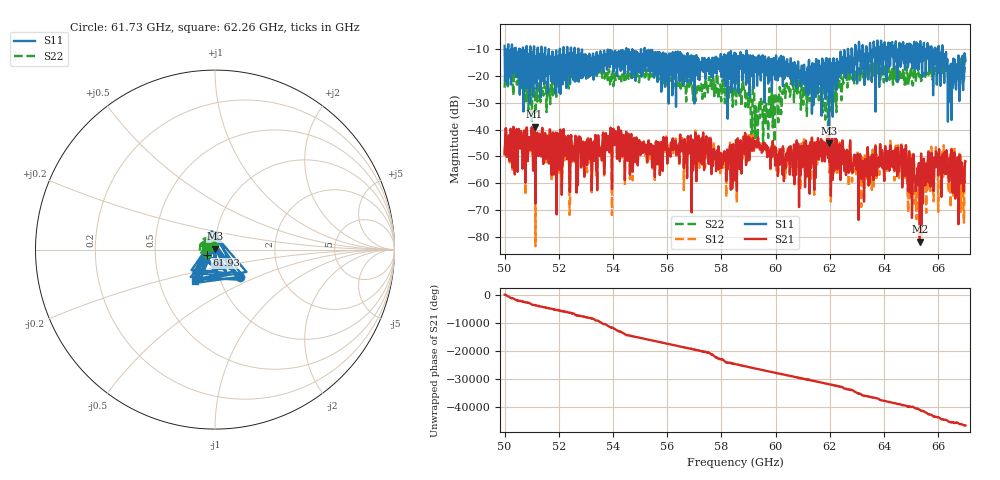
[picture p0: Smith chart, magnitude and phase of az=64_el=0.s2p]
!Created with skrf (http://scikit-rf.org).
# GHz S RI R 50.0
!freq ReS11 ImS11 ReS21 ImS21 ReS12 ImS12 ReS22 ImS22
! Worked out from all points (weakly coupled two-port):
!   1001 points, 50 GHz to 67 GHz, reference 50 ohm
!   highest |S21| = -38.88 dB at 51.1 GHz (marker M1); lowest = -81.8 dB at 65.32 GHz (marker M2)
!   lowest |S11| = -45.0 dB at 61.97 GHz (marker M3), VSWR 1.01, Z = 50.2 + j0.533 ohm
!   |S11| at or under -10 dB: 52.72 GHz to 54.49 GHz (1.767 GHz wide, 3.3 % of centre); 55.17 GHz to 62.66 GHz (7.496 GHz wide, 12.7 % of centre); 66.16 GHz to end of sweep (the widest 3 of 59)
!   |S22| runs from -46.7 to -13.3 dB; largest |S21 - S12| = 0.0022
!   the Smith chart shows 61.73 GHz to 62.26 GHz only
!   S11 on the Smith chart (normalised r, x): 61.73 GHz: 1.25, -0.40; 61.93 GHz: 0.91, -0.05; 62.26 GHz: 0.75, -0.28
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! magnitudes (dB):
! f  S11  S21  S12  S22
! 50 GHz  -8.7  -49.2  -49.2  -24.4
! 51.1 GHz  -22.6  -38.9  -38.7  -24.7
! 52.84 GHz  -12.7  -48.1  -48.0  -19.5
! 54.13 GHz  -11.8  -45.4  -44.7  -18.4
! 55.68 GHz  -13.6  -44.6  -44.3  -21.5
! 58.5 GHz  -24.7  -49.0  -48.8  -24.0
! 59.3 GHz  -15.0  -45.8  -45.1  -38.7
! 60.64 GHz  -15.2  -57.1  -54.1  -22.8
! 61.34 GHz  -34.1  -43.1  -42.9  -26.7
! 61.73 GHz  -13.8  -44.3  -44.0  -33.6
! 61.93 GHz  -25.1  -50.6  -49.3  -40.8
! 61.97 GHz  -45.0  -43.6  -44.3  -22.9
! 62.26 GHz  -13.6  -48.2  -48.2  -25.1
! 63.14 GHz  -19.1  -53.4  -52.1  -17.2
! 64.18 GHz  -11.8  -50.4  -51.6  -17.6
! 64.72 GHz  -12.7  -51.4  -51.3  -18.2
! 65.11 GHz  -7.2  -58.1  -53.5  -17.3
! 65.32 GHz  -11.5  -81.8  -55.8  -19.5
! 66.22 GHz  -22.6  -50.5  -53.5  -14.4
! 66.44 GHz  -29.6  -52.5  -51.6  -16.3
! 66.92 GHz  -25.3  -58.7  -60.1  -13.4
! 67 GHz  -14.3  -51.9  -50.6  -14.5
